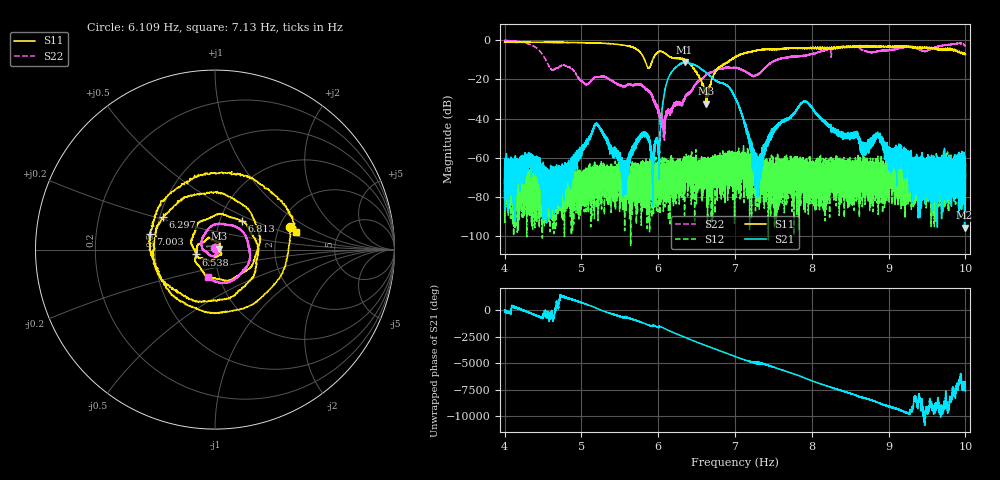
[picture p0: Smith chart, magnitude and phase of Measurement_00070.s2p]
!Created with skrf (http://scikit-rf.org).
# Hz S RI R 50.0
!freq ReS11 ImS11 ReS21 ImS21 ReS12 ImS12 ReS22 ImS22
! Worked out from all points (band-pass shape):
!   14001 points, 4 Hz to 10 Hz, reference 50 ohm
!   highest |S21| = -11.34 dB at 6.344 Hz (marker M1); lowest = -95.6 dB at 9.99 Hz (marker M2)
!   |S21| within 3 dB of the highest: 6.216 Hz to 6.545 Hz (328.4 mHz wide, 5.15 % of centre); 6.545324 Hz to 6.546168 Hz (843.5 uHz wide, 0.0129 % of centre) (the widest 2 of 3)
!   lowest |S11| = -32.4 dB at 6.628 Hz (marker M3), VSWR 1.05, Z = 52.4 + j0.558 ohm
!   |S11| at or under -10 dB: 5.823 Hz to 5.929 Hz (106.5 mHz wide, 1.81 % of centre); 6.335643 Hz to 6.336751 Hz (1.108 mHz wide, 0.0175 % of centre); 6.351 Hz to 6.951 Hz (600 mHz wide, 9.02 % of centre) (the widest 3 of 11)
!   |S22| runs from -51.1 to -0.2 dB; largest |S21 - S12| = 0.27
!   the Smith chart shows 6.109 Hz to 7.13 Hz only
!   S11 on the Smith chart (normalised r, x): 6.109 Hz: 2.28, +0.70; 6.297 Hz: 0.52, +0.22; 6.538 Hz: 0.81, -0.04; 6.813 Hz: 1.28, +0.42; 7.003 Hz: 0.46, +0.09; 7.13 Hz: 2.54, +0.62
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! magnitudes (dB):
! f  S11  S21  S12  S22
! 4 Hz  -1.1  -72.7  -71.5  -0.3
! 4.339 Hz  -1.1  -61.3  -76.7  -2.3
! 4.619 Hz  -1.1  -73.3  -68.7  -15.2
! 5 Hz  -1.3  -57.1  -77.6  -20.8
! 5.197 Hz  -1.5  -42.9  -69.8  -18.7
! 5.562 Hz  -2.6  -65.3  -70.8  -23.4
! 5.786 Hz  -7.3  -48.5  -69.1  -23.0
! 6 Hz  -6.1  -55.0  -69.6  -35.7
! 6.109 Hz  -7.2  -22.0  -69.6  -39.0
! 6.297 Hz  -9.3  -11.9  -67.0  -33.0
! 6.344 Hz  -9.9  -11.3  -60.3  -30.1
! 6.538 Hz  -19.1  -14.1  -64.0  -20.5
! 6.628 Hz  -32.4  -16.7  -67.0  -17.7
! 6.813 Hz  -13.2  -21.7  -65.0  -14.4
! 7 Hz  -8.7  -29.2  -62.6  -14.0
! 7.003 Hz  -8.6  -29.5  -62.8  -14.1
! 7.13 Hz  -6.7  -43.2  -64.6  -15.9
! 7.293 Hz  -5.2  -59.4  -64.4  -17.6
! 8 Hz  -4.2  -34.3  -64.2  -6.9
! 9 Hz  -3.4  -58.4  -66.0  -5.0
! 9.99 Hz  -7.1  -95.6  -68.3  -2.5
! 10 Hz  -7.2  -63.2  -81.6  -3.1
